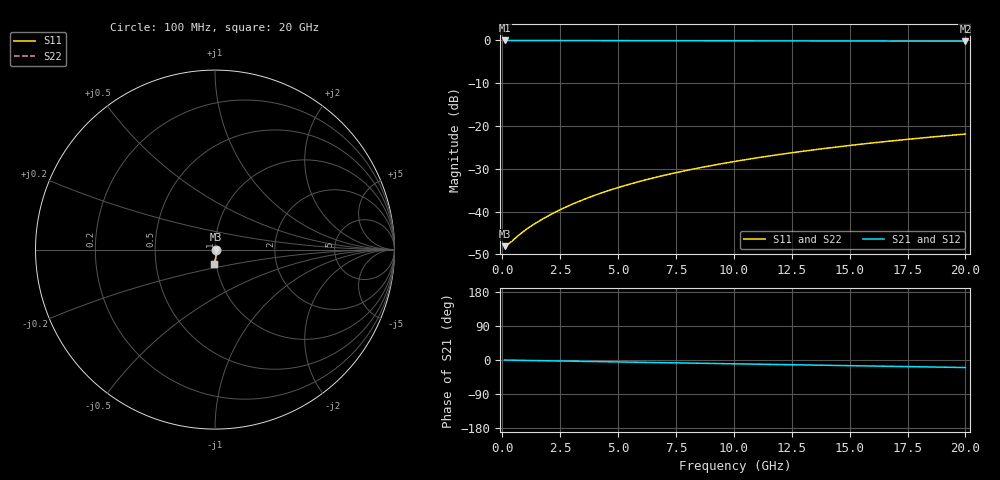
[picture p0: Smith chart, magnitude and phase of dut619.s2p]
! Touchstone file exported from HFSS 2026.1.0
!  File:  C:/ffzhzh/LocalFiles/Ansys_Project_Files/temp_train_TMRDL_619_1783008935_55676.aedt
!  Generated:  12:16:49 AM Jul  3, 2026
!  Design:  TMRDL
!  Project:  temp_train_TMRDL_619_1783008935_55676
! Variables:
!  h_bsmrdl = 2um
!  h_ox = 20um
!  h_rdl = 5um
!  h_sub = 80um
!  h_tmrdl = 2.89um
!  h_tsv = 80um
!  h_via = 3um
!  l_bsmrdl = 300um
!  l_sub = 739.78um
!  l_tmrdl = 339.78um
!  m_sub = 200um
!  pitch = 12.41um
!  r_tsv = 6um
!  s_tmrdl = 10um
!  w_bsmrdl = 18um
!  w_sub = 500um
!  w_tmrdl = 10.98um
!  x_tsv_center1 = 345.27um
!  x_tsv_center2 = 663.27um
!  x_tsv_center3 = 1014.03um
!  x_tsv_center4 = 1332.03um
!  x_tsv_center5 = 1682.79um
!  x_tsv_center6 = 2000.79um
# GHz S MA R 50.000000
! Terminal data exported
! Port[1] = TM_RDL1_1_T1
! Port[2] = TM_RDL1_1_T2
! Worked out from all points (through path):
!   200 points, 100 MHz to 20 GHz, reference 50 ohm
!   highest |S21| = -0.03 dB at 100 MHz (marker M1); lowest = -0.2 dB at 20 GHz (marker M2)
!   group delay of S21, straight-line fit = 2.75 ps
!   lowest |S11| = -48.1 dB at 100 MHz (marker M3), VSWR 1.01, Z = 50.4 + j0.00288 ohm
!   |S11| at or under -10 dB: start of sweep to end of sweep
!   |S22| runs from -48.1 to -21.9 dB; largest |S21 - S12| = 2.8e-15
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0.1  0.003945 0.4  0.9961 -0.1  0.9961 -0.1  0.003945 0.4
! Gamma 0 0 0 0
! Port Impedance 50 0 50 0
0.2  0.004066 0.4  0.9959 -0.2  0.9959 -0.2  0.004066 0.4
0.3  0.004249 -0.2  0.9958 -0.4  0.9958 -0.4  0.004249 -0.2
0.7  0.005269 -8.5  0.9948 -0.8  0.9948 -0.8  0.00527 -8.5
1  0.006096 -17.1  0.9941 -1.1  0.9941 -1.1  0.006097 -17.1
1.3  0.006928 -25.2  0.9936 -1.4  0.9936 -1.4  0.006929 -25.2
1.6  0.007779 -32.2  0.9933 -1.7  0.9933 -1.7  0.007779 -32.2
2  0.008957 -40.1  0.9929 -2.1  0.9929 -2.1  0.008958 -40.1
2.5  0.0105 -47.7  0.9925 -2.6  0.9925 -2.6  0.01051 -47.7
3  0.01212 -53.5  0.9922 -3.1  0.9922 -3.1  0.01212 -53.5
3.5  0.0138 -58.1  0.9919 -3.6  0.9919 -3.6  0.0138 -58.1
4.2  0.01622 -63.1  0.9915 -4.4  0.9915 -4.4  0.01622 -63.1
5  0.01908 -67.4  0.991 -5.2  0.991 -5.2  0.01908 -67.4
5.9  0.02238 -71.1  0.9903 -6.1  0.9903 -6.1  0.02239 -71.1
6.8  0.02577 -74.0  0.9896 -7.0  0.9896 -7.0  0.02578 -74.0
8.4  0.03197 -78.1  0.9883 -8.6  0.9883 -8.6  0.03198 -78.1
10.1  0.03876 -81.5  0.9868 -10.3  0.9868 -10.3  0.03877 -81.5
11.7  0.04531 -84.3  0.9852 -11.8  0.9852 -11.8  0.04532 -84.2
13.4  0.0524 -86.9  0.9835 -13.5  0.9835 -13.5  0.05241 -86.9
15  0.05915 -89.3  0.9819 -15.1  0.9819 -15.1  0.05916 -89.2
16.7  0.06638 -91.6  0.9802 -16.7  0.9802 -16.7  0.06639 -91.5
20  0.08044 -95.9  0.9768 -19.9  0.9768 -19.9  0.08045 -95.8
